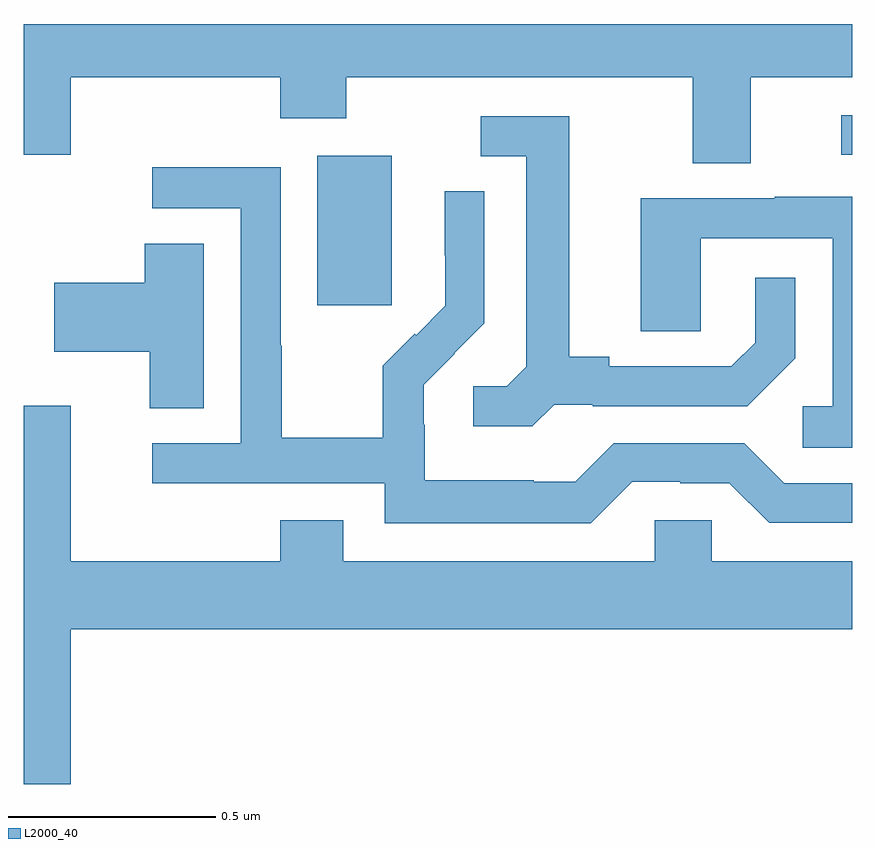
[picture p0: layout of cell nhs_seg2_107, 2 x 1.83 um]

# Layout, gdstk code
import gdstk
lib = gdstk.Library(unit=1e-6, precision=1e-09)
def R(c, l, rs):  # rectangles x0, y0, x1, y1
    for r in rs: c.add(gdstk.rectangle(r[:2], r[2:], *l))
def P(c, l, *ps):  # polygons
    for p in ps: c.add(gdstk.Polygon(p, *l))
L2000_40 = (2000, 40)

nhs_seg2_107 = lib.new_cell('nhs_seg2_107')
R(nhs_seg2_107, L2000_40, [(112.709,611.121,112.888,611.482), (113.973,611.484,114,611.58)])
P(nhs_seg2_107, L2000_40, [(113.755,611.672),(114,611.672),(114,611.8),(112,611.8),(112,611.484),(112.114,611.484),(112.114,611.672),(112.619,611.672),(112.619,611.573),(112.779,611.573),(112.779,611.672),(113.615,611.672),(113.615,611.464),(113.755,611.464)],
  [(113.28,610.881),(113.374,610.881),(113.374,610.878),(113.746,610.878),(113.862,610.994),(113.862,611.188),(113.765,611.188),(113.765,611.031),(113.708,610.974),(113.413,610.974),(113.413,610.997),(113.317,610.997),(113.317,611.577),(113.103,611.577),(113.103,611.481),(113.213,611.481),(113.213,610.973),(113.166,610.926),(113.085,610.926),(113.085,610.829),(113.228,610.829)],
  [(113.469,610.695),(113.585,610.695),(113.585,610.692),(113.703,610.692),(113.799,610.596),(114,610.596),(114,610.692),(113.835,610.692),(113.739,610.788),(113.424,610.788),(113.331,610.695),(113.231,610.695),(113.231,610.699),(112.968,610.699),(112.968,610.833),(112.966,610.833),(112.966,610.93),(113.04,611.004),(113.039,611.005),(113.112,611.078),(113.112,611.396),(113.016,611.396),(113.016,611.242),(113.018,611.242),(113.018,611.12),(112.947,611.049),(112.944,611.052),(112.867,610.975),(112.867,610.801),(112.623,610.801),(112.623,611.024),(112.62,611.024),(112.62,611.454),(112.311,611.454),(112.311,611.355),(112.524,611.355),(112.524,610.788),(112.311,610.788),(112.311,610.692),(112.872,610.692),(112.872,610.595),(113.369,610.595)],
  [(114,611.383),(113.813,611.383),(113.813,611.379),(113.489,611.379),(113.489,611.059),(113.634,611.059),(113.634,611.283),(113.952,611.283),(113.952,610.878),(113.88,610.878),(113.88,610.777),(114,610.777)],
  [(112.435,611.27),(112.292,611.27),(112.292,611.175),(112.074,611.175),(112.074,611.009),(112.304,611.009),(112.304,610.873),(112.435,610.873)],
  [(112.114,610.34),(114,610.34),(114,610.504),(113.661,610.504),(113.661,610.602),(113.523,610.602),(113.523,610.504),(112.771,610.504),(112.771,610.603),(112.619,610.603),(112.619,610.504),(112.114,610.504),(112.114,610.879),(112,610.879),(112,609.966),(112.114,609.966)])

lib.write_gds('nhs_seg2_107.gds')
